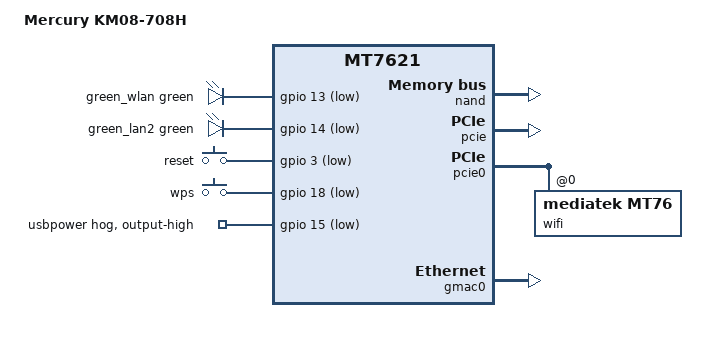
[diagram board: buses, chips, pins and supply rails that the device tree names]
// SPDX-License-Identifier: GPL-2.0-or-later OR MIT
// Copyright (c) 2023, Muhammad Al-Qady <m.ismael@gmail.com>

#include "mt7621.dtsi"

#include <dt-bindings/gpio/gpio.h>
#include <dt-bindings/input/input.h>
#include <dt-bindings/leds/common.h>

/ {
	compatible = "mercury,km08-708h", "mediatek,mt7621-soc";
	model = "Mercury KM08-708H";

	aliases {
		label-mac-device = &wan;
		led-boot = &led_wlan;
		led-failsafe = &led_wlan;
		led-upgrade = &led_wlan;
	};

	chosen {
		bootargs = "console=ttyS0,115200";
		bootargs-override = "console=ttyS0,115200";
	};

	leds {
		compatible = "gpio-leds";

		led_wlan: wlan {
			label = "green_wlan";
			gpios = <&gpio 13 GPIO_ACTIVE_LOW>;
			function = LED_FUNCTION_WLAN;
			color = <LED_COLOR_ID_GREEN>;
			linux,default-trigger = "phy0tpt";
		};

		led_lan2: lan2 {
			label = "green_lan2";
			gpios = <&gpio 14 GPIO_ACTIVE_LOW>;
			function = LED_FUNCTION_LAN;
			color = <LED_COLOR_ID_GREEN>;
			linux,default-trigger = "lan2";
		};
	};

	keys {
		compatible = "gpio-keys";

		reset {
			label = "reset";
			gpios = <&gpio 3 GPIO_ACTIVE_LOW>;
			linux,code = <KEY_RESTART>;
		};

		wps {
			label = "wps";
			gpios = <&gpio 18 GPIO_ACTIVE_LOW>;
			linux,code = <KEY_WPS_BUTTON>;
		};
	};
};

&gpio {
	usbpower-hog {
		gpio-hog;
		gpios = <15 GPIO_ACTIVE_LOW>;
		output-high;
		line-name = "usbpower";
	};
};

&nand {
	status = "okay";

	partitions {
		compatible = "fixed-partitions";
		#address-cells = <1>;
		#size-cells = <1>;

		partition@0 {
			label = "u-boot";
			reg = <0x0 0x80000>;
			read-only;
		};

		partition@80000 {
			label = "u-boot-env";
			reg = <0x80000 0x40000>;
		};

		factory: partition@c0000 {
			label = "factory";
			reg = <0xc0000 0x80000>;
			read-only;
			nvmem-layout {
				compatible = "fixed-layout";
				#address-cells = <1>;
				#size-cells = <1>;

				macaddr_factory_4: macaddr@4 {
					compatible = "mac-base";
					reg = <0x4 0x6>;
					#nvmem-cell-cells = <1>;
				};

				eeprom_factory_40000: eeprom@40000 {
					reg = <0x40000 0x8C04>;
				};
			};
		};

		partition@140000 {
			label = "firmware";
			reg = <0x140000 0x7100000>;

			compatible = "denx,uimage";
			#address-cells = <1>;
			#size-cells = <1>;
		};

		partition@7240000 {
			label = "recoverk";
			reg = <0x7240000 0x720000>;
			read-only;
		};

		partition@7960000 {
			label = "recoverr";
			reg = <0x7960000 0xe0000>;
			read-only;
		};

		partition@7a40000 {
			label = "nvram";
			reg = <0x7a40000 0xe0000>;
			read-only;
		};

		partition@7b20000 {
			label = "log";
			reg = <0x7b20000 0x4e0000>;
			read-only;
		};
	};
};

&pcie {
	status = "okay";
};

&pcie0 {
	wifi@0,0 {
		compatible = "mediatek,mt76";
		reg = <0x0000 0 0 0 0>;
		nvmem-cells = <&eeprom_factory_40000>;
		nvmem-cell-names = "eeprom";
		mediatek,disable-radar-background;
		#address-cells = <1>;
		#size-cells = <0>;

		band@0 {
			reg = <0>;
			nvmem-cells = <&macaddr_factory_4 2>;
			nvmem-cell-names = "mac-address";
		};

		band@1 {
			reg = <1>;
			nvmem-cells = <&macaddr_factory_4 3>;
			nvmem-cell-names = "mac-address";
		};
	};
};

&gmac0 {
	status = "okay";
	nvmem-cells = <&macaddr_factory_4 1>;
	nvmem-cell-names = "mac-address";
};

&switch0 {
	ports {
		wan: port@0 {
			status = "okay";
			label = "wan";
			nvmem-cells = <&macaddr_factory_4 0>;
			nvmem-cell-names = "mac-address";
		};

		port@1 {
			status = "okay";
			label = "lan4";
		};

		port@2 {
			status = "okay";
			label = "lan3";
		};

		port@3 {
			status = "okay";
			label = "lan2";
		};

		port@4 {
			status = "okay";
			label = "lan1";
		};
	};
};
